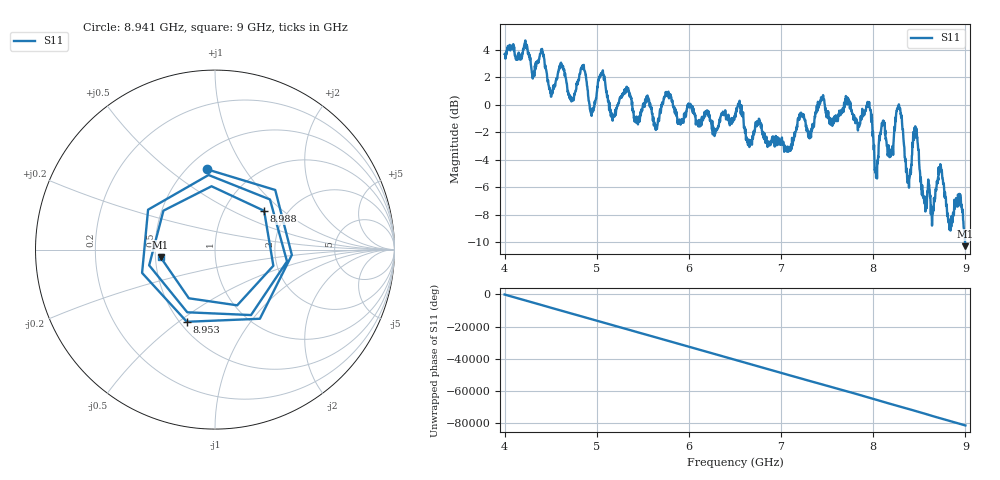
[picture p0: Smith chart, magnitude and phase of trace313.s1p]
! Created with skrf 1.8.0 (http://scikit-rf.org).
# Hz S RI R 50.0
!freq ReS11 ImS11
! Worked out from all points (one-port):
!   1601 points, 4 GHz to 9 GHz, reference 50 ohm
!   lowest |S11| = -10.3 dB at 9 GHz (marker M1), VSWR 1.88, Z = 26.6 - j2.48 ohm
!   |S11| at or under -10 dB: 8.99602 GHz to end of sweep
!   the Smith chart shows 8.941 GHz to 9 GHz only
!   S11 on the Smith chart (normalised r, x): 8.941 GHz: 0.62, +0.69; 8.953 GHz: 0.54, -0.54; 8.988 GHz: 1.53, +0.75; 9 GHz: 0.53, -0.05
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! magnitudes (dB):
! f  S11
! 4 GHz  3.7
! 4.406 GHz  4.1
! 4.509 GHz  0.7
! 4.625 GHz  2.8
! 4.728 GHz  0.3
! 4.856 GHz  2.7
! 4.947 GHz  -0.5
! 5.05 GHz  2.3
! 5.169 GHz  -1.1
! 5.25 GHz  0.5
! 5.875 GHz  -1.2
! 6.5 GHz  -0.8
! 7.125 GHz  -2.6
! 7.444 GHz  0.5
! 7.75 GHz  0.1
! 7.95 GHz  0.1
! 8.031 GHz  -5.3
! 8.1 GHz  -1.5
! 8.284 GHz  -0.2
! 8.375 GHz  -5.6
! 8.459 GHz  -1.8
! 8.559 GHz  -7.2
! 8.728 GHz  -4.3
! 8.828 GHz  -9.1
! 8.941 GHz  -7.0
! 8.953 GHz  -7.3
! 8.988 GHz  -9.2
! 9 GHz  -10.3
